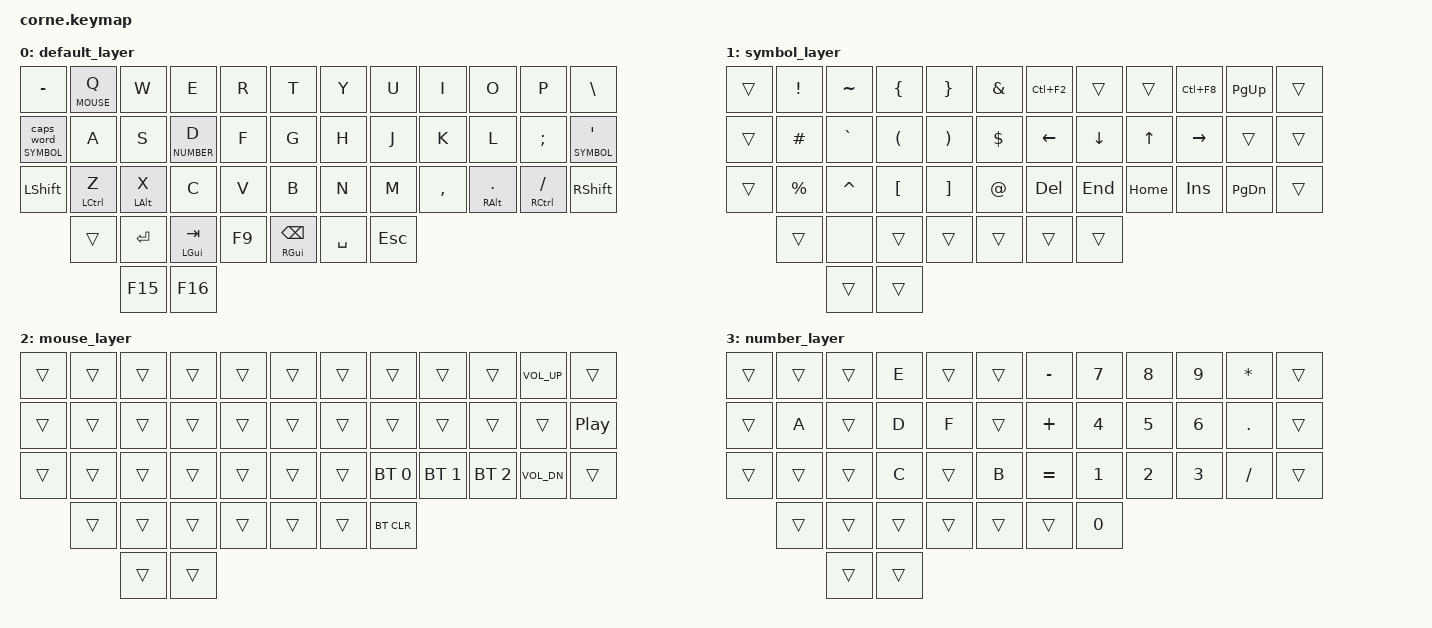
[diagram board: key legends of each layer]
#include <behaviors.dtsi>
#include <dt-bindings/zmk/keys.h>
#include <dt-bindings/zmk/matrix_transform.h>
#include <dt-bindings/zmk/bt.h>

#define DEFAULT 0
#define SYMBOL  1
#define MOUSE   2
#define NUMBER  3

&mt {
	flavor = "balanced";
};

&default_transform {
	compatible = "zmk,matrix-transform";
	columns = <12>;
	rows = <4>;
	map = <
	RC(0,0) RC(0,1) RC(0,2) RC(0,3) RC(0,4) RC(0,5)      RC(0,6) RC(0,7) RC(0,8) RC(0,9) RC(0,10) RC(0,11)
	RC(1,0) RC(1,1) RC(1,2) RC(1,3) RC(1,4) RC(1,5)      RC(1,6) RC(1,7) RC(1,8) RC(1,9) RC(1,10) RC(1,11)
	RC(2,0) RC(2,1) RC(2,2) RC(2,3) RC(2,4) RC(2,5)      RC(2,6) RC(2,7) RC(2,8) RC(2,9) RC(2,10) RC(2,11)
			RC(3,3) RC(3,4) RC(3,5) RC(3,2)      RC(3,6) RC(3,7) RC(3,8)
				RC(3,0) RC(3,1)
	>;
};

/ {

#define CAP_Symb  &caps_word_layer SYMBOL 0
#define _D_Numb_  &lt NUMBER D
#define _Z_LCtl_  &mt LCTL Z
#define _X_LAlt_  &mt LALT X
#define _Tab_Cmd  &mt LGUI TAB
#define _Qu_Symb  &lt SYMBOL SINGLE_QUOTE
#define Dot_RAlt  &mt RALT DOT
#define Slsh_Ctl  &mt RCTL SLASH
#define Bspc_Cmd  &mqt RGUI BACKSPACE
#define _Q_Mouse  &lt MOUSE Q

	behaviors {
	    caps_word_layer: caps_word_layer {
		compatible = "zmk,behavior-hold-tap";
		label = "ZM_caps_word_layer";
		#binding-cells = <2>;
		flavor = "balanced";
		tapping-term-ms = <200>;
		bindings = <&mo>, <&caps_word>;
	    };

	    mqt: mod_quick_tap {
		compatible = "zmk,behavior-hold-tap";
		label = "ZM_qt_mt";
		#binding-cells = <2>;
		flavor = "balanced";
		tapping-term-ms = <200>;
		quick-tap-ms = <125>;
		bindings = <&kp>, <&kp>;
	    };
	};

	keymap {
		compatible = "zmk,keymap";
		default_layer {
			bindings = <
/* --------- --------- --------- --------- --------- --------- | --------- --------- --------- --------- --------- --------- */
   &kp MINUS _Q_Mouse  &kp W     &kp E     &kp R     &kp T       &kp Y     &kp U     &kp I     &kp O     &kp P     &kp BSLH
   CAP_Symb  &kp A     &kp S     _D_Numb_  &kp F     &kp G       &kp H     &kp J     &kp K     &kp L     &kp SEMI  _Qu_Symb
   &kp LSHFT _Z_LCtl_  _X_LAlt_  &kp C     &kp V     &kp B       &kp N     &kp M     &kp COMMA Dot_RAlt  Slsh_Ctl  &kp RSHFT
/*			       --------- --------- --------- | --------- --------- ---------			       */
			 &trans &kp ENTER  _Tab_Cmd  &kp F9    Bspc_Cmd  &kp SPACE &kp ESC
				      &kp F15   &kp F16
			>;
		};
		symbol_layer {
			bindings = <
/* --------- --------- --------- --------- --------- --------- | --------- --------- --------- --------- --------- --------- */
   &trans    &kp EXCL  &kp TILDE &kp LBRC  &kp RBRC  &kp AMPS    &kp LC(F2) &trans   &trans   &kp LC(F8) &kp PG_UP &trans
   &trans    &kp HASH  &kp GRAVE &kp LPAR  &kp RPAR  &kp DLLR    &kp LEFT  &kp DOWN  &kp UP    &kp RIGHT &trans    &trans
   &trans    &kp PRCNT &kp CARET &kp LBKT  &kp RBKT  &kp AT      &kp DEL   &kp END   &kp HOME  &kp INS   &kp PG_DN &trans
/*			       --------- --------- --------- | --------- --------- ---------			       */
				 &trans   &none  &trans &trans   &trans    &trans    &trans
				      &trans   &trans
			>;
		};
		mouse_layer {
			bindings = <
/* --------- --------- --------- --------- --------- --------- | --------- --------- --------- --------- ---------   --------- */
   &trans    &trans    &trans    &trans    &trans    &trans      &trans    &trans    &trans    &trans   &kp C_VOL_UP &trans
   &trans    &trans    &trans    &trans    &trans    &trans      &trans    &trans    &trans    &trans   &trans       &kp C_PLAY_PAUSE
   &trans    &trans    &trans    &trans    &trans    &trans      &trans &bt BT_SEL 0 &bt BT_SEL 1 &bt BT_SEL 2 &kp C_VOL_DN &trans
/*			       --------- --------- --------- | --------- --------- ---------			       */
				 &trans  &trans  &trans &trans   &trans    &trans    &bt BT_CLR
				     &trans   &trans
			>;
		};
		number_layer {
			bindings = <
/* --------- --------- --------- --------- --------- --------- | --------- --------- --------- --------- --------- --------- */
   &trans    &trans    &trans    &kp E     &trans    &trans      &kp MINUS &kp N7    &kp N8    &kp N9    &kp STAR  &trans
   &trans    &kp A     &trans    &kp D     &kp F     &trans      &kp PLUS  &kp N4    &kp N5    &kp N6    &kp DOT   &trans
   &trans    &trans    &trans    &kp C     &trans    &kp B       &kp EQUAL &kp N1    &kp N2    &kp N3    &kp SLASH &trans
/*			       --------- --------- --------- | --------- --------- ---------			       */
				&trans  &trans  &trans &trans    &trans    &trans    &kp N0
				     &trans   &trans
			>;
		};
	};
};
